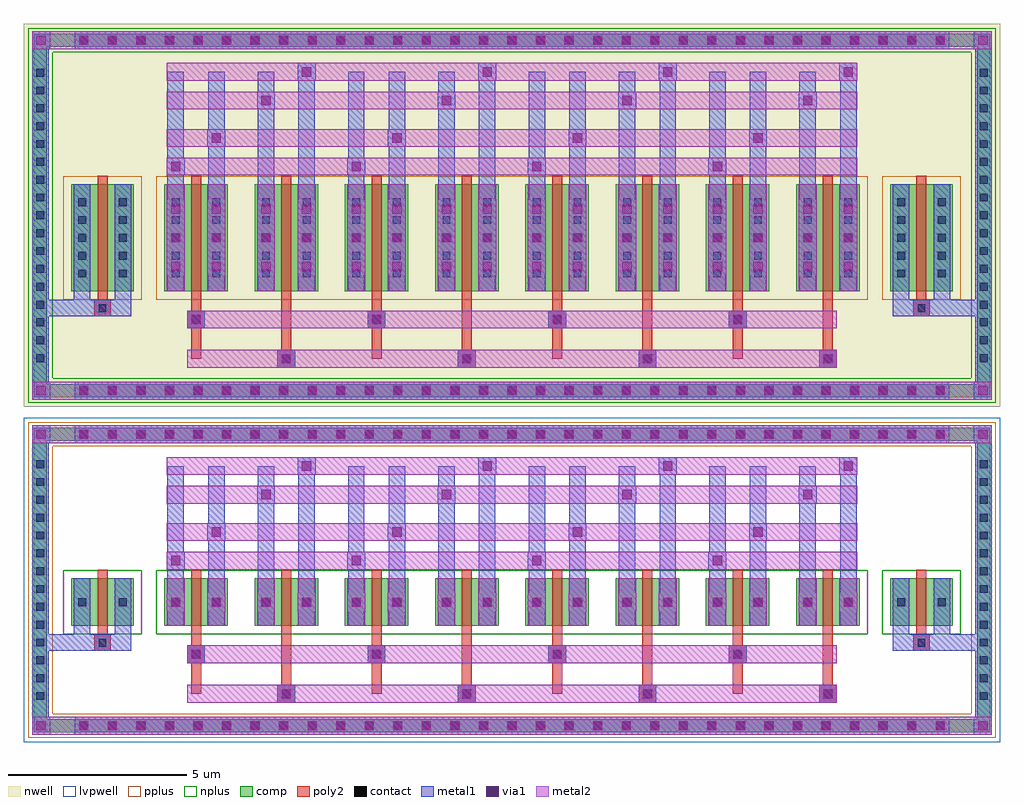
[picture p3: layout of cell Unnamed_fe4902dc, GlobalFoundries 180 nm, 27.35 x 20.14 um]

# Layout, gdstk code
import gdstk
lib = gdstk.Library(unit=1e-6, precision=5e-09)
def R(c, l, rs):  # rectangles x0, y0, x1, y1
    for r in rs: c.add(gdstk.rectangle(r[:2], r[2:], *l))
def A(c, l, x, y, w, h, nx, ny, dx, dy):  # array of equal rectangles
    R(c, l, [(x+i*dx, y+j*dy, x+i*dx+w, y+j*dy+h) for i in range(nx) for j in range(ny)])
def P(c, l, *ps):  # polygons
    for p in ps: c.add(gdstk.Polygon(p, *l))
nwell = (21, 0)
comp = (22, 0)
poly2 = (30, 0)
pplus = (31, 0)
nplus = (32, 0)
contact = (33, 0)
metal1 = (34, 0)
via1 = (35, 0)
metal2 = (36, 0)
lvpwell = (204, 0)

unnamed_380edbf8_1 = lib.new_cell('Unnamed_380edbf8$1')
A(unnamed_380edbf8_1, comp, -12.18, -5.09, 0.36, 0.36, 31, 2, 0.8, 9.82)
A(unnamed_380edbf8_1, comp, -13.395, -4.18, 0.36, 0.36, 1, 17, 0, 0.5)
A(unnamed_380edbf8_1, comp, 13.035, -4.18, 0.36, 0.36, 1, 17, 0, 0.5)
R(unnamed_380edbf8_1, comp, [(-12.18,-5.09,12.18,-4.73), (-13.395,-4.18,-13.035,4.18), (13.035,-4.18,13.395,4.18), (-12.18,4.73,12.18,5.09)])
P(unnamed_380edbf8_1, comp, [(-13.395,-5.09),(-13.395,-4.73),(-13.035,-4.73),(13.035,-4.73),(13.035,4.73),(-13.035,4.73),(-13.035,-4.73),(-13.395,-4.73),(-13.395,5.09),(13.395,5.09),(13.395,-5.09)])
P(unnamed_380edbf8_1, nplus, [(-13.555,-5.25),(-13.555,-4.57),(-12.875,-4.57),(12.875,-4.57),(12.875,4.57),(-12.875,4.57),(-12.875,-4.57),(-13.555,-4.57),(-13.555,5.25),(13.555,5.25),(13.555,-5.25)])
A(unnamed_380edbf8_1, contact, -12.11, -5.02, 0.22, 0.22, 31, 2, 0.8, 9.82)
A(unnamed_380edbf8_1, contact, -13.325, -4.11, 0.22, 0.22, 1, 17, 0, 0.5)
A(unnamed_380edbf8_1, contact, 13.105, -4.11, 0.22, 0.22, 1, 17, 0, 0.5)
A(unnamed_380edbf8_1, metal1, -12.25, -5.16, 0.5, 0.5, 31, 2, 0.8, 9.82)
A(unnamed_380edbf8_1, metal1, -13.445, -4.23, 0.46, 0.46, 1, 17, 0, 0.5)
A(unnamed_380edbf8_1, metal1, 12.985, -4.23, 0.46, 0.46, 1, 17, 0, 0.5)
R(unnamed_380edbf8_1, metal1, [(-13.445,-5.16,-12.945,-4.66), (-13.445,-5.16,-12.945,-4.66), (-13.445,-5.16,-12.985,-4.73), (-12.25,-5.16,12.25,-4.66), (12.945,-5.16,13.445,-4.66), (12.945,-5.16,13.445,-4.66), (12.985,-5.16,13.445,-4.73), (-13.445,-4.73,-12.985,4.73), (12.985,-4.73,13.445,4.73), (-13.445,4.66,-12.945,5.16), (-13.445,4.66,-12.945,5.16), (-12.25,4.66,12.25,5.16), (12.945,4.66,13.445,5.16), (12.945,4.66,13.445,5.16), (-13.445,4.73,-12.985,5.16), (12.985,4.73,13.445,5.16)])
A(unnamed_380edbf8_1, via1, -12.13, -5.04, 0.26, 0.26, 31, 2, 0.8, 9.82)
R(unnamed_380edbf8_1, via1, [(-13.325,-5.04,-13.065,-4.78), (13.065,-5.04,13.325,-4.78), (-13.325,4.78,-13.065,5.04), (13.065,4.78,13.325,5.04)])
A(unnamed_380edbf8_1, metal2, -12.25, -5.16, 0.5, 0.5, 31, 2, 0.8, 9.82)
R(unnamed_380edbf8_1, metal2, [(-13.445,-5.16,-13.035,-4.66), (-13.445,-5.16,-12.945,-4.66), (-13.445,-5.16,-12.945,-4.66), (-13.035,-5.16,13.035,-4.66), (12.945,-5.16,13.445,-4.66), (12.945,-5.16,13.445,-4.66), (13.035,-5.16,13.445,-4.66), (-13.445,4.66,-13.035,5.16), (-13.445,4.66,-12.945,5.16), (-13.445,4.66,-12.945,5.16), (-13.035,4.66,13.035,5.16), (12.945,4.66,13.445,5.16), (12.945,4.66,13.445,5.16), (13.035,4.66,13.445,5.16)])

straight_route_d008fce1 = lib.new_cell('straight_route_d008fce1')
R(straight_route_d008fce1, metal1, [(-13.445,-2.83,-11.705,-2.37)])

straight_route_ca73e596 = lib.new_cell('straight_route_ca73e596')
R(straight_route_ca73e596, metal1, [(11.705,-2.83,13.445,-2.37)])

transformed_6f1270a9 = lib.new_cell('transformed_6f1270a9')
R(transformed_6f1270a9, nwell, [(-13.675,-5.37,13.675,5.37)])
A(transformed_6f1270a9, comp, -9.745, -2.13, 1.78, 3, 8, 1, 2.53, 0)
R(transformed_6f1270a9, comp, [(-12.345,-2.13,-10.605,0.87), (10.605,-2.13,12.345,0.87)])
A(transformed_6f1270a9, poly2, -6.575, -4.27, 0.5, 0.5, 4, 1, 5.06, 0)
A(transformed_6f1270a9, poly2, -6.505, -4.2, 0.36, 0.36, 4, 1, 5.06, 0)
A(transformed_6f1270a9, poly2, -8.995, -4.02, 0.28, 1.65, 4, 1, 5.06, 0)
A(transformed_6f1270a9, poly2, -6.465, -3.77, 0.28, 1.4, 4, 1, 5.06, 0)
A(transformed_6f1270a9, poly2, -9.105, -3.17, 0.5, 0.5, 4, 1, 5.06, 0)
A(transformed_6f1270a9, poly2, -9.035, -3.1, 0.36, 0.36, 4, 1, 5.06, 0)
A(transformed_6f1270a9, poly2, -8.995, -2.67, 0.28, 0.3, 4, 1, 5.06, 0)
A(transformed_6f1270a9, poly2, -8.995, -2.37, 0.28, 3.48, 8, 1, 2.53, 0)
R(transformed_6f1270a9, poly2, [(-11.705,-2.83,-11.245,-2.37), (11.245,-2.83,11.705,-2.37), (-11.655,-2.78,-11.295,-2.42), (11.295,-2.78,11.655,-2.42), (-11.615,-2.37,-11.335,1.11), (11.335,-2.37,11.615,1.11)])
A(transformed_6f1270a9, pplus, -9.975, -2.36, 2.24, 3.46, 8, 1, 2.53, 0)
R(transformed_6f1270a9, pplus, [(-12.575,-2.36,-10.375,1.1), (-9.975,-2.36,9.975,1.1), (10.375,-2.36,12.575,1.1)])
A(transformed_6f1270a9, contact, -6.435, -4.13, 0.22, 0.22, 4, 1, 5.06, 0)
A(transformed_6f1270a9, contact, -8.965, -3.03, 0.22, 0.22, 4, 1, 5.06, 0)
A(transformed_6f1270a9, contact, -12.155, -1.74, 0.22, 0.22, 1, 5, 0, 0.5)
A(transformed_6f1270a9, contact, -11.015, -1.74, 0.22, 0.22, 1, 5, 0, 0.5)
A(transformed_6f1270a9, contact, -9.535, -1.74, 0.22, 0.22, 1, 5, 0, 0.5)
A(transformed_6f1270a9, contact, -8.395, -1.74, 0.22, 0.22, 1, 5, 0, 0.5)
A(transformed_6f1270a9, contact, -7.005, -1.74, 0.22, 0.22, 1, 5, 0, 0.5)
A(transformed_6f1270a9, contact, -5.865, -1.74, 0.22, 0.22, 1, 5, 0, 0.5)
A(transformed_6f1270a9, contact, -4.475, -1.74, 0.22, 0.22, 1, 5, 0, 0.5)
A(transformed_6f1270a9, contact, -3.335, -1.74, 0.22, 0.22, 1, 5, 0, 0.5)
A(transformed_6f1270a9, contact, -1.945, -1.74, 0.22, 0.22, 1, 5, 0, 0.5)
A(transformed_6f1270a9, contact, -0.805, -1.74, 0.22, 0.22, 1, 5, 0, 0.5)
A(transformed_6f1270a9, contact, 0.585, -1.74, 0.22, 0.22, 1, 5, 0, 0.5)
A(transformed_6f1270a9, contact, 1.725, -1.74, 0.22, 0.22, 1, 5, 0, 0.5)
A(transformed_6f1270a9, contact, 3.115, -1.74, 0.22, 0.22, 1, 5, 0, 0.5)
A(transformed_6f1270a9, contact, 4.255, -1.74, 0.22, 0.22, 1, 5, 0, 0.5)
A(transformed_6f1270a9, contact, 5.645, -1.74, 0.22, 0.22, 1, 5, 0, 0.5)
A(transformed_6f1270a9, contact, 6.785, -1.74, 0.22, 0.22, 1, 5, 0, 0.5)
A(transformed_6f1270a9, contact, 8.175, -1.74, 0.22, 0.22, 1, 5, 0, 0.5)
A(transformed_6f1270a9, contact, 9.315, -1.74, 0.22, 0.22, 1, 5, 0, 0.5)
A(transformed_6f1270a9, contact, 10.795, -1.74, 0.22, 0.22, 1, 5, 0, 0.5)
A(transformed_6f1270a9, contact, 11.935, -1.74, 0.22, 0.22, 1, 5, 0, 0.5)
R(transformed_6f1270a9, contact, [(-11.585,-2.71,-11.365,-2.49), (11.365,-2.71,11.585,-2.49)])
A(transformed_6f1270a9, metal1, -6.575, -4.27, 0.5, 0.5, 4, 1, 5.06, 0)
A(transformed_6f1270a9, metal1, -9.105, -3.17, 0.5, 0.5, 4, 1, 5.06, 0)
A(transformed_6f1270a9, metal1, -12.275, -1.86, 0.46, 0.46, 1, 5, 0, 0.5)
A(transformed_6f1270a9, metal1, -11.135, -1.86, 0.46, 0.46, 1, 5, 0, 0.5)
A(transformed_6f1270a9, metal1, -9.655, -1.86, 0.46, 0.46, 1, 5, 0, 0.5)
A(transformed_6f1270a9, metal1, -8.515, -1.86, 0.46, 0.46, 1, 5, 0, 0.5)
A(transformed_6f1270a9, metal1, -7.125, -1.86, 0.46, 0.46, 1, 5, 0, 0.5)
A(transformed_6f1270a9, metal1, -5.985, -1.86, 0.46, 0.46, 1, 5, 0, 0.5)
A(transformed_6f1270a9, metal1, -4.595, -1.86, 0.46, 0.46, 1, 5, 0, 0.5)
A(transformed_6f1270a9, metal1, -3.455, -1.86, 0.46, 0.46, 1, 5, 0, 0.5)
A(transformed_6f1270a9, metal1, -2.065, -1.86, 0.46, 0.46, 1, 5, 0, 0.5)
A(transformed_6f1270a9, metal1, -0.925, -1.86, 0.46, 0.46, 1, 5, 0, 0.5)
A(transformed_6f1270a9, metal1, 0.465, -1.86, 0.46, 0.46, 1, 5, 0, 0.5)
A(transformed_6f1270a9, metal1, 1.605, -1.86, 0.46, 0.46, 1, 5, 0, 0.5)
A(transformed_6f1270a9, metal1, 2.995, -1.86, 0.46, 0.46, 1, 5, 0, 0.5)
A(transformed_6f1270a9, metal1, 4.135, -1.86, 0.46, 0.46, 1, 5, 0, 0.5)
A(transformed_6f1270a9, metal1, 5.525, -1.86, 0.46, 0.46, 1, 5, 0, 0.5)
A(transformed_6f1270a9, metal1, 6.665, -1.86, 0.46, 0.46, 1, 5, 0, 0.5)
A(transformed_6f1270a9, metal1, 8.055, -1.86, 0.46, 0.46, 1, 5, 0, 0.5)
A(transformed_6f1270a9, metal1, 9.195, -1.86, 0.46, 0.46, 1, 5, 0, 0.5)
A(transformed_6f1270a9, metal1, 10.675, -1.86, 0.46, 0.46, 1, 5, 0, 0.5)
A(transformed_6f1270a9, metal1, 11.815, -1.86, 0.46, 0.46, 1, 5, 0, 0.5)
A(transformed_6f1270a9, metal1, -9.675, -1.68, 0.5, 0.5, 1, 3, 0, 0.8)
A(transformed_6f1270a9, metal1, -8.535, -1.68, 0.5, 0.5, 1, 3, 0, 0.8)
A(transformed_6f1270a9, metal1, -7.145, -1.68, 0.5, 0.5, 1, 3, 0, 0.8)
A(transformed_6f1270a9, metal1, -6.005, -1.68, 0.5, 0.5, 1, 3, 0, 0.8)
A(transformed_6f1270a9, metal1, -4.615, -1.68, 0.5, 0.5, 1, 3, 0, 0.8)
A(transformed_6f1270a9, metal1, -3.475, -1.68, 0.5, 0.5, 1, 3, 0, 0.8)
A(transformed_6f1270a9, metal1, -2.085, -1.68, 0.5, 0.5, 1, 3, 0, 0.8)
A(transformed_6f1270a9, metal1, -0.945, -1.68, 0.5, 0.5, 1, 3, 0, 0.8)
A(transformed_6f1270a9, metal1, 0.445, -1.68, 0.5, 0.5, 1, 3, 0, 0.8)
A(transformed_6f1270a9, metal1, 1.585, -1.68, 0.5, 0.5, 1, 3, 0, 0.8)
A(transformed_6f1270a9, metal1, 2.975, -1.68, 0.5, 0.5, 1, 3, 0, 0.8)
A(transformed_6f1270a9, metal1, 4.115, -1.68, 0.5, 0.5, 1, 3, 0, 0.8)
A(transformed_6f1270a9, metal1, 5.505, -1.68, 0.5, 0.5, 1, 3, 0, 0.8)
A(transformed_6f1270a9, metal1, 6.645, -1.68, 0.5, 0.5, 1, 3, 0, 0.8)
A(transformed_6f1270a9, metal1, 8.035, -1.68, 0.5, 0.5, 1, 3, 0, 0.8)
A(transformed_6f1270a9, metal1, 9.175, -1.68, 0.5, 0.5, 1, 3, 0, 0.8)
A(transformed_6f1270a9, metal1, -9.655, 0.87, 0.46, 0.75, 4, 1, 5.06, 0)
A(transformed_6f1270a9, metal1, -8.515, 0.87, 0.46, 1.55, 4, 1, 5.06, 0)
A(transformed_6f1270a9, metal1, -7.125, 0.87, 0.46, 2.6, 4, 1, 5.06, 0)
A(transformed_6f1270a9, metal1, -5.985, 0.87, 0.46, 3.4, 4, 1, 5.06, 0)
A(transformed_6f1270a9, metal1, -9.675, 1.12, 0.5, 0.5, 4, 1, 5.06, 0)
A(transformed_6f1270a9, metal1, -8.535, 1.92, 0.5, 0.5, 4, 1, 5.06, 0)
A(transformed_6f1270a9, metal1, -7.145, 2.97, 0.5, 0.5, 4, 1, 5.06, 0)
A(transformed_6f1270a9, metal1, -6.005, 3.77, 0.5, 0.5, 4, 1, 5.06, 0)
R(transformed_6f1270a9, metal1, [(-12.275,-2.83,-11.705,-2.37), (-12.275,-2.83,-11.815,-2.13), (-11.705,-2.83,-11.245,-2.37), (-11.245,-2.83,-10.675,-2.37), (-11.135,-2.83,-10.675,-2.13), (10.675,-2.83,11.245,-2.37), (10.675,-2.83,11.135,-2.13), (11.245,-2.83,11.705,-2.37), (11.705,-2.83,12.275,-2.37), (11.815,-2.83,12.275,-2.13), (-12.275,-2.13,-11.815,0.87), (-11.135,-2.13,-10.675,0.87), (-9.655,-2.13,-9.195,0.87), (-8.515,-2.13,-8.055,0.87), (-7.125,-2.13,-6.665,0.87), (-5.985,-2.13,-5.525,0.87), (-4.595,-2.13,-4.135,0.87), (-3.455,-2.13,-2.995,0.87), (-2.065,-2.13,-1.605,0.87), (-0.925,-2.13,-0.465,0.87), (0.465,-2.13,0.925,0.87), (1.605,-2.13,2.065,0.87), (2.995,-2.13,3.455,0.87), (4.135,-2.13,4.595,0.87), (5.525,-2.13,5.985,0.87), (6.665,-2.13,7.125,0.87), (8.055,-2.13,8.515,0.87), (9.195,-2.13,9.655,0.87), (10.675,-2.13,11.135,0.87), (11.815,-2.13,12.275,0.87), (-9.675,-1.68,-9.175,0.42), (-8.535,-1.68,-8.035,0.42), (-7.145,-1.68,-6.645,0.42), (-6.005,-1.68,-5.505,0.42), (-4.615,-1.68,-4.115,0.42), (-3.475,-1.68,-2.975,0.42), (-2.085,-1.68,-1.585,0.42), (-0.945,-1.68,-0.445,0.42), (0.445,-1.68,0.945,0.42), (1.585,-1.68,2.085,0.42), (2.975,-1.68,3.475,0.42), (4.115,-1.68,4.615,0.42), (5.505,-1.68,6.005,0.42), (6.645,-1.68,7.145,0.42), (8.035,-1.68,8.535,0.42), (9.175,-1.68,9.675,0.42), (-9.655,0.87,-9.195,4.02), (-8.515,0.87,-8.055,4.02), (-7.125,0.87,-6.665,4.02), (-5.985,0.87,-5.525,4.02), (-4.595,0.87,-4.135,4.02), (-3.455,0.87,-2.995,4.02), (-2.065,0.87,-1.605,4.02), (-0.925,0.87,-0.465,4.02), (0.465,0.87,0.925,4.02), (1.605,0.87,2.065,4.02), (2.995,0.87,3.455,4.02), (4.135,0.87,4.595,4.02), (5.525,0.87,5.985,4.02), (6.665,0.87,7.125,4.02), (8.055,0.87,8.515,4.02), (9.195,0.87,9.655,4.02)])
A(transformed_6f1270a9, via1, -6.455, -4.15, 0.26, 0.26, 4, 1, 5.06, 0)
A(transformed_6f1270a9, via1, -8.985, -3.05, 0.26, 0.26, 4, 1, 5.06, 0)
A(transformed_6f1270a9, via1, -9.555, -1.56, 0.26, 0.26, 1, 3, 0, 0.8)
A(transformed_6f1270a9, via1, -8.415, -1.56, 0.26, 0.26, 1, 3, 0, 0.8)
A(transformed_6f1270a9, via1, -7.025, -1.56, 0.26, 0.26, 1, 3, 0, 0.8)
A(transformed_6f1270a9, via1, -5.885, -1.56, 0.26, 0.26, 1, 3, 0, 0.8)
A(transformed_6f1270a9, via1, -4.495, -1.56, 0.26, 0.26, 1, 3, 0, 0.8)
A(transformed_6f1270a9, via1, -3.355, -1.56, 0.26, 0.26, 1, 3, 0, 0.8)
A(transformed_6f1270a9, via1, -1.965, -1.56, 0.26, 0.26, 1, 3, 0, 0.8)
A(transformed_6f1270a9, via1, -0.825, -1.56, 0.26, 0.26, 1, 3, 0, 0.8)
A(transformed_6f1270a9, via1, 0.565, -1.56, 0.26, 0.26, 1, 3, 0, 0.8)
A(transformed_6f1270a9, via1, 1.705, -1.56, 0.26, 0.26, 1, 3, 0, 0.8)
A(transformed_6f1270a9, via1, 3.095, -1.56, 0.26, 0.26, 1, 3, 0, 0.8)
A(transformed_6f1270a9, via1, 4.235, -1.56, 0.26, 0.26, 1, 3, 0, 0.8)
A(transformed_6f1270a9, via1, 5.625, -1.56, 0.26, 0.26, 1, 3, 0, 0.8)
A(transformed_6f1270a9, via1, 6.765, -1.56, 0.26, 0.26, 1, 3, 0, 0.8)
A(transformed_6f1270a9, via1, 8.155, -1.56, 0.26, 0.26, 1, 3, 0, 0.8)
A(transformed_6f1270a9, via1, 9.295, -1.56, 0.26, 0.26, 1, 3, 0, 0.8)
A(transformed_6f1270a9, via1, -9.555, 1.24, 0.26, 0.26, 4, 1, 5.06, 0)
A(transformed_6f1270a9, via1, -8.415, 2.04, 0.26, 0.26, 4, 1, 5.06, 0)
A(transformed_6f1270a9, via1, -7.025, 3.09, 0.26, 0.26, 4, 1, 5.06, 0)
A(transformed_6f1270a9, via1, -5.885, 3.89, 0.26, 0.26, 4, 1, 5.06, 0)
A(transformed_6f1270a9, metal2, -9.675, -1.68, 0.5, 0.5, 1, 3, 0, 0.8)
A(transformed_6f1270a9, metal2, -8.535, -1.68, 0.5, 0.5, 1, 3, 0, 0.8)
A(transformed_6f1270a9, metal2, -7.145, -1.68, 0.5, 0.5, 1, 3, 0, 0.8)
A(transformed_6f1270a9, metal2, -6.005, -1.68, 0.5, 0.5, 1, 3, 0, 0.8)
A(transformed_6f1270a9, metal2, -4.615, -1.68, 0.5, 0.5, 1, 3, 0, 0.8)
A(transformed_6f1270a9, metal2, -3.475, -1.68, 0.5, 0.5, 1, 3, 0, 0.8)
A(transformed_6f1270a9, metal2, -2.085, -1.68, 0.5, 0.5, 1, 3, 0, 0.8)
A(transformed_6f1270a9, metal2, -0.945, -1.68, 0.5, 0.5, 1, 3, 0, 0.8)
A(transformed_6f1270a9, metal2, 0.445, -1.68, 0.5, 0.5, 1, 3, 0, 0.8)
A(transformed_6f1270a9, metal2, 1.585, -1.68, 0.5, 0.5, 1, 3, 0, 0.8)
A(transformed_6f1270a9, metal2, 2.975, -1.68, 0.5, 0.5, 1, 3, 0, 0.8)
A(transformed_6f1270a9, metal2, 4.115, -1.68, 0.5, 0.5, 1, 3, 0, 0.8)
A(transformed_6f1270a9, metal2, 5.505, -1.68, 0.5, 0.5, 1, 3, 0, 0.8)
A(transformed_6f1270a9, metal2, 6.645, -1.68, 0.5, 0.5, 1, 3, 0, 0.8)
A(transformed_6f1270a9, metal2, 8.035, -1.68, 0.5, 0.5, 1, 3, 0, 0.8)
A(transformed_6f1270a9, metal2, 9.175, -1.68, 0.5, 0.5, 1, 3, 0, 0.8)
A(transformed_6f1270a9, metal2, -9.675, 1.12, 0.5, 0.5, 4, 1, 5.06, 0)
A(transformed_6f1270a9, metal2, -9.675, 1.12, 1.64, 0.5, 4, 2, 5.06, 0.8)
A(transformed_6f1270a9, metal2, -8.535, 1.92, 0.5, 0.5, 4, 1, 5.06, 0)
A(transformed_6f1270a9, metal2, -7.145, 2.97, 0.5, 0.5, 4, 1, 5.06, 0)
A(transformed_6f1270a9, metal2, -7.145, 2.97, 1.64, 0.5, 4, 2, 5.06, 0.8)
A(transformed_6f1270a9, metal2, -6.005, 3.77, 0.5, 0.5, 4, 1, 5.06, 0)
R(transformed_6f1270a9, metal2, [(-9.105,-4.27,9.105,-3.77), (-6.575,-4.27,-6.075,-3.77), (-6.575,-4.27,-6.075,-3.77), (-1.515,-4.27,-1.015,-3.77), (-1.515,-4.27,-1.015,-3.77), (3.545,-4.27,4.045,-3.77), (3.545,-4.27,4.045,-3.77), (8.605,-4.27,9.105,-3.77), (8.605,-4.27,9.105,-3.77), (-9.105,-3.17,-8.605,-2.67), (-9.105,-3.17,-8.605,-2.67), (-9.105,-3.17,9.105,-2.67), (-4.045,-3.17,-3.545,-2.67), (-4.045,-3.17,-3.545,-2.67), (1.015,-3.17,1.515,-2.67), (1.015,-3.17,1.515,-2.67), (6.075,-3.17,6.575,-2.67), (6.075,-3.17,6.575,-2.67), (-9.675,-2.13,-9.175,0.87), (-8.535,-2.13,-8.035,0.87), (-7.145,-2.13,-6.645,0.87), (-6.005,-2.13,-5.505,0.87), (-4.615,-2.13,-4.115,0.87), (-3.475,-2.13,-2.975,0.87), (-2.085,-2.13,-1.585,0.87), (-0.945,-2.13,-0.445,0.87), (0.445,-2.13,0.945,0.87), (1.585,-2.13,2.085,0.87), (2.975,-2.13,3.475,0.87), (4.115,-2.13,4.615,0.87), (5.505,-2.13,6.005,0.87), (6.645,-2.13,7.145,0.87), (8.035,-2.13,8.535,0.87), (9.175,-2.13,9.675,0.87), (-9.675,1.12,9.675,1.62), (-9.675,1.92,9.675,2.42), (-9.675,2.97,9.675,3.47), (-9.675,3.77,9.675,4.27)])
transformed_6f1270a9.add(gdstk.Reference(unnamed_380edbf8_1, (0,0)))
transformed_6f1270a9.add(gdstk.Reference(straight_route_d008fce1, (0,0)))
transformed_6f1270a9.add(gdstk.Reference(straight_route_ca73e596, (0,0)))

unnamed_fec9934c_1 = lib.new_cell('Unnamed_fec9934c$1')
A(unnamed_fec9934c_1, comp, -12.18, -4.265, 0.36, 0.36, 31, 2, 0.8, 8.17)
A(unnamed_fec9934c_1, comp, -13.395, -3.43, 0.36, 0.36, 1, 14, 0, 0.5)
A(unnamed_fec9934c_1, comp, 13.035, -3.43, 0.36, 0.36, 1, 14, 0, 0.5)
R(unnamed_fec9934c_1, comp, [(-12.18,-4.265,12.18,-3.905), (-13.395,-3.43,-13.035,3.43), (13.035,-3.43,13.395,3.43), (-12.18,3.905,12.18,4.265)])
P(unnamed_fec9934c_1, comp, [(-13.395,-4.265),(-13.395,-3.905),(-13.035,-3.905),(13.035,-3.905),(13.035,3.905),(-13.035,3.905),(-13.035,-3.905),(-13.395,-3.905),(-13.395,4.265),(13.395,4.265),(13.395,-4.265)])
P(unnamed_fec9934c_1, pplus, [(-13.555,-4.425),(-13.555,-3.745),(-12.875,-3.745),(12.875,-3.745),(12.875,3.745),(-12.875,3.745),(-12.875,-3.745),(-13.555,-3.745),(-13.555,4.425),(13.555,4.425),(13.555,-4.425)])
A(unnamed_fec9934c_1, contact, -12.11, -4.195, 0.22, 0.22, 31, 2, 0.8, 8.17)
A(unnamed_fec9934c_1, contact, -13.325, -3.36, 0.22, 0.22, 1, 14, 0, 0.5)
A(unnamed_fec9934c_1, contact, 13.105, -3.36, 0.22, 0.22, 1, 14, 0, 0.5)
A(unnamed_fec9934c_1, metal1, -12.25, -4.335, 0.5, 0.5, 31, 2, 0.8, 8.17)
A(unnamed_fec9934c_1, metal1, -13.445, -3.48, 0.46, 0.46, 1, 14, 0, 0.5)
A(unnamed_fec9934c_1, metal1, 12.985, -3.48, 0.46, 0.46, 1, 14, 0, 0.5)
R(unnamed_fec9934c_1, metal1, [(-13.445,-4.335,-12.945,-3.835), (-13.445,-4.335,-12.945,-3.835), (-13.445,-4.335,-12.985,-3.905), (-12.25,-4.335,12.25,-3.835), (12.945,-4.335,13.445,-3.835), (12.945,-4.335,13.445,-3.835), (12.985,-4.335,13.445,-3.905), (-13.445,-3.905,-12.985,3.905), (12.985,-3.905,13.445,3.905), (-13.445,3.835,-12.945,4.335), (-13.445,3.835,-12.945,4.335), (-12.25,3.835,12.25,4.335), (12.945,3.835,13.445,4.335), (12.945,3.835,13.445,4.335), (-13.445,3.905,-12.985,4.335), (12.985,3.905,13.445,4.335)])
A(unnamed_fec9934c_1, via1, -12.13, -4.215, 0.26, 0.26, 31, 2, 0.8, 8.17)
R(unnamed_fec9934c_1, via1, [(-13.325,-4.215,-13.065,-3.955), (13.065,-4.215,13.325,-3.955), (-13.325,3.955,-13.065,4.215), (13.065,3.955,13.325,4.215)])
A(unnamed_fec9934c_1, metal2, -12.25, -4.335, 0.5, 0.5, 31, 2, 0.8, 8.17)
R(unnamed_fec9934c_1, metal2, [(-13.445,-4.335,-13.035,-3.835), (-13.445,-4.335,-12.945,-3.835), (-13.445,-4.335,-12.945,-3.835), (-13.035,-4.335,13.035,-3.835), (12.945,-4.335,13.445,-3.835), (12.945,-4.335,13.445,-3.835), (13.035,-4.335,13.445,-3.835), (-13.445,3.835,-13.035,4.335), (-13.445,3.835,-12.945,4.335), (-13.445,3.835,-12.945,4.335), (-13.035,3.835,13.035,4.335), (12.945,3.835,13.445,4.335), (12.945,3.835,13.445,4.335), (13.035,3.835,13.445,4.335)])

straight_route_58694c5b = lib.new_cell('straight_route_58694c5b')
R(straight_route_58694c5b, metal1, [(-13.445,-1.985,-11.705,-1.525)])

straight_route_b35e4530 = lib.new_cell('straight_route_b35e4530')
R(straight_route_b35e4530, metal1, [(11.705,-1.985,13.445,-1.525)])

transformed_7045f93c = lib.new_cell('transformed_7045f93c')
A(transformed_7045f93c, comp, -9.745, -1.285, 1.78, 1.33, 8, 1, 2.53, 0)
R(transformed_7045f93c, comp, [(-12.345,-1.285,-10.605,0.045), (10.605,-1.285,12.345,0.045)])
A(transformed_7045f93c, poly2, -6.575, -3.44, 0.5, 0.5, 4, 1, 5.06, 0)
A(transformed_7045f93c, poly2, -6.505, -3.37, 0.36, 0.36, 4, 1, 5.06, 0)
A(transformed_7045f93c, poly2, -8.995, -3.19, 0.28, 1.665, 4, 1, 5.06, 0)
A(transformed_7045f93c, poly2, -6.465, -2.94, 0.28, 1.415, 4, 1, 5.06, 0)
A(transformed_7045f93c, poly2, -9.105, -2.33, 0.5, 0.5, 4, 1, 5.06, 0)
A(transformed_7045f93c, poly2, -9.035, -2.26, 0.36, 0.36, 4, 1, 5.06, 0)
A(transformed_7045f93c, poly2, -8.995, -1.83, 0.28, 0.305, 4, 1, 5.06, 0)
A(transformed_7045f93c, poly2, -8.995, -1.525, 0.28, 1.81, 8, 1, 2.53, 0)
R(transformed_7045f93c, poly2, [(-11.705,-1.985,-11.245,-1.525), (11.245,-1.985,11.705,-1.525), (-11.655,-1.935,-11.295,-1.575), (11.295,-1.935,11.655,-1.575), (-11.615,-1.525,-11.335,0.285), (11.335,-1.525,11.615,0.285)])
A(transformed_7045f93c, nplus, -9.975, -1.515, 2.24, 1.79, 8, 1, 2.53, 0)
R(transformed_7045f93c, nplus, [(-12.575,-1.515,-10.375,0.275), (-9.975,-1.515,9.975,0.275), (10.375,-1.515,12.575,0.275)])
A(transformed_7045f93c, contact, -6.435, -3.3, 0.22, 0.22, 4, 1, 5.06, 0)
A(transformed_7045f93c, contact, -8.965, -2.19, 0.22, 0.22, 4, 1, 5.06, 0)
R(transformed_7045f93c, contact, [(-11.585,-1.865,-11.365,-1.645), (11.365,-1.865,11.585,-1.645), (-12.155,-0.73,-11.935,-0.51), (-11.015,-0.73,-10.795,-0.51), (-9.535,-0.73,-9.315,-0.51), (-8.395,-0.73,-8.175,-0.51), (-7.005,-0.73,-6.785,-0.51), (-5.865,-0.73,-5.645,-0.51), (-4.475,-0.73,-4.255,-0.51), (-3.335,-0.73,-3.115,-0.51), (-1.945,-0.73,-1.725,-0.51), (-0.805,-0.73,-0.585,-0.51), (0.585,-0.73,0.805,-0.51), (1.725,-0.73,1.945,-0.51), (3.115,-0.73,3.335,-0.51), (4.255,-0.73,4.475,-0.51), (5.645,-0.73,5.865,-0.51), (6.785,-0.73,7.005,-0.51), (8.175,-0.73,8.395,-0.51), (9.315,-0.73,9.535,-0.51), (10.795,-0.73,11.015,-0.51), (11.935,-0.73,12.155,-0.51)])
A(transformed_7045f93c, metal1, -6.575, -3.44, 0.5, 0.5, 4, 1, 5.06, 0)
A(transformed_7045f93c, metal1, -9.105, -2.33, 0.5, 0.5, 4, 1, 5.06, 0)
A(transformed_7045f93c, metal1, -9.655, 0.045, 0.46, 0.75, 4, 1, 5.06, 0)
A(transformed_7045f93c, metal1, -8.515, 0.045, 0.46, 1.55, 4, 1, 5.06, 0)
A(transformed_7045f93c, metal1, -7.125, 0.045, 0.46, 2.6, 4, 1, 5.06, 0)
A(transformed_7045f93c, metal1, -5.985, 0.045, 0.46, 3.4, 4, 1, 5.06, 0)
A(transformed_7045f93c, metal1, -9.675, 0.295, 0.5, 0.5, 4, 1, 5.06, 0)
A(transformed_7045f93c, metal1, -8.535, 1.095, 0.5, 0.5, 4, 1, 5.06, 0)
A(transformed_7045f93c, metal1, -7.145, 2.145, 0.5, 0.5, 4, 1, 5.06, 0)
A(transformed_7045f93c, metal1, -6.005, 2.945, 0.5, 0.5, 4, 1, 5.06, 0)
R(transformed_7045f93c, metal1, [(-12.275,-1.985,-11.705,-1.525), (-12.275,-1.985,-11.815,-1.285), (-11.705,-1.985,-11.245,-1.525), (-11.245,-1.985,-10.675,-1.525), (-11.135,-1.985,-10.675,-1.285), (10.675,-1.985,11.245,-1.525), (10.675,-1.985,11.135,-1.285), (11.245,-1.985,11.705,-1.525), (11.705,-1.985,12.275,-1.525), (11.815,-1.985,12.275,-1.285), (-12.275,-1.285,-11.815,0.045), (-11.135,-1.285,-10.675,0.045), (-9.655,-1.285,-9.195,0.045), (-8.515,-1.285,-8.055,0.045), (-7.125,-1.285,-6.665,0.045), (-5.985,-1.285,-5.525,0.045), (-4.595,-1.285,-4.135,0.045), (-3.455,-1.285,-2.995,0.045), (-2.065,-1.285,-1.605,0.045), (-0.925,-1.285,-0.465,0.045), (0.465,-1.285,0.925,0.045), (1.605,-1.285,2.065,0.045), (2.995,-1.285,3.455,0.045), (4.135,-1.285,4.595,0.045), (5.525,-1.285,5.985,0.045), (6.665,-1.285,7.125,0.045), (8.055,-1.285,8.515,0.045), (9.195,-1.285,9.655,0.045), (10.675,-1.285,11.135,0.045), (11.815,-1.285,12.275,0.045), (-9.675,-0.87,-9.175,-0.37), (-9.675,-0.87,-9.175,-0.37), (-8.535,-0.87,-8.035,-0.37), (-8.535,-0.87,-8.035,-0.37), (-7.145,-0.87,-6.645,-0.37), (-7.145,-0.87,-6.645,-0.37), (-6.005,-0.87,-5.505,-0.37), (-6.005,-0.87,-5.505,-0.37), (-4.615,-0.87,-4.115,-0.37), (-4.615,-0.87,-4.115,-0.37), (-3.475,-0.87,-2.975,-0.37), (-3.475,-0.87,-2.975,-0.37), (-2.085,-0.87,-1.585,-0.37), (-2.085,-0.87,-1.585,-0.37), (-0.945,-0.87,-0.445,-0.37), (-0.945,-0.87,-0.445,-0.37), (0.445,-0.87,0.945,-0.37), (0.445,-0.87,0.945,-0.37), (1.585,-0.87,2.085,-0.37), (1.585,-0.87,2.085,-0.37), (2.975,-0.87,3.475,-0.37), (2.975,-0.87,3.475,-0.37), (4.115,-0.87,4.615,-0.37), (4.115,-0.87,4.615,-0.37), (5.505,-0.87,6.005,-0.37), (5.505,-0.87,6.005,-0.37), (6.645,-0.87,7.145,-0.37), (6.645,-0.87,7.145,-0.37), (8.035,-0.87,8.535,-0.37), (8.035,-0.87,8.535,-0.37), (9.175,-0.87,9.675,-0.37), (9.175,-0.87,9.675,-0.37), (-12.275,-0.85,-11.815,-0.39), (-11.135,-0.85,-10.675,-0.39), (-9.655,-0.85,-9.195,-0.39), (-8.515,-0.85,-8.055,-0.39), (-7.125,-0.85,-6.665,-0.39), (-5.985,-0.85,-5.525,-0.39), (-4.595,-0.85,-4.135,-0.39), (-3.455,-0.85,-2.995,-0.39), (-2.065,-0.85,-1.605,-0.39), (-0.925,-0.85,-0.465,-0.39), (0.465,-0.85,0.925,-0.39), (1.605,-0.85,2.065,-0.39), (2.995,-0.85,3.455,-0.39), (4.135,-0.85,4.595,-0.39), (5.525,-0.85,5.985,-0.39), (6.665,-0.85,7.125,-0.39), (8.055,-0.85,8.515,-0.39), (9.195,-0.85,9.655,-0.39), (10.675,-0.85,11.135,-0.39), (11.815,-0.85,12.275,-0.39), (-9.655,0.045,-9.195,3.195), (-8.515,0.045,-8.055,3.195), (-7.125,0.045,-6.665,3.195), (-5.985,0.045,-5.525,3.195), (-4.595,0.045,-4.135,3.195), (-3.455,0.045,-2.995,3.195), (-2.065,0.045,-1.605,3.195), (-0.925,0.045,-0.465,3.195), (0.465,0.045,0.925,3.195), (1.605,0.045,2.065,3.195), (2.995,0.045,3.455,3.195), (4.135,0.045,4.595,3.195), (5.525,0.045,5.985,3.195), (6.665,0.045,7.125,3.195), (8.055,0.045,8.515,3.195), (9.195,0.045,9.655,3.195)])
A(transformed_7045f93c, via1, -6.455, -3.32, 0.26, 0.26, 4, 1, 5.06, 0)
A(transformed_7045f93c, via1, -8.985, -2.21, 0.26, 0.26, 4, 1, 5.06, 0)
A(transformed_7045f93c, via1, -9.555, 0.415, 0.26, 0.26, 4, 1, 5.06, 0)
A(transformed_7045f93c, via1, -8.415, 1.215, 0.26, 0.26, 4, 1, 5.06, 0)
A(transformed_7045f93c, via1, -7.025, 2.265, 0.26, 0.26, 4, 1, 5.06, 0)
A(transformed_7045f93c, via1, -5.885, 3.065, 0.26, 0.26, 4, 1, 5.06, 0)
R(transformed_7045f93c, via1, [(-9.555,-0.75,-9.295,-0.49), (-8.415,-0.75,-8.155,-0.49), (-7.025,-0.75,-6.765,-0.49), (-5.885,-0.75,-5.625,-0.49), (-4.495,-0.75,-4.235,-0.49), (-3.355,-0.75,-3.095,-0.49), (-1.965,-0.75,-1.705,-0.49), (-0.825,-0.75,-0.565,-0.49), (0.565,-0.75,0.825,-0.49), (1.705,-0.75,1.965,-0.49), (3.095,-0.75,3.355,-0.49), (4.235,-0.75,4.495,-0.49), (5.625,-0.75,5.885,-0.49), (6.765,-0.75,7.025,-0.49), (8.155,-0.75,8.415,-0.49), (9.295,-0.75,9.555,-0.49)])
A(transformed_7045f93c, metal2, -9.675, 0.295, 0.5, 0.5, 4, 1, 5.06, 0)
A(transformed_7045f93c, metal2, -9.675, 0.295, 1.64, 0.5, 4, 2, 5.06, 0.8)
A(transformed_7045f93c, metal2, -8.535, 1.095, 0.5, 0.5, 4, 1, 5.06, 0)
A(transformed_7045f93c, metal2, -7.145, 2.145, 0.5, 0.5, 4, 1, 5.06, 0)
A(transformed_7045f93c, metal2, -7.145, 2.145, 1.64, 0.5, 4, 2, 5.06, 0.8)
A(transformed_7045f93c, metal2, -6.005, 2.945, 0.5, 0.5, 4, 1, 5.06, 0)
R(transformed_7045f93c, metal2, [(-9.105,-3.44,9.105,-2.94), (-6.575,-3.44,-6.075,-2.94), (-6.575,-3.44,-6.075,-2.94), (-1.515,-3.44,-1.015,-2.94), (-1.515,-3.44,-1.015,-2.94), (3.545,-3.44,4.045,-2.94), (3.545,-3.44,4.045,-2.94), (8.605,-3.44,9.105,-2.94), (8.605,-3.44,9.105,-2.94), (-9.105,-2.33,-8.605,-1.83), (-9.105,-2.33,-8.605,-1.83), (-9.105,-2.33,9.105,-1.83), (-4.045,-2.33,-3.545,-1.83), (-4.045,-2.33,-3.545,-1.83), (1.015,-2.33,1.515,-1.83), (1.015,-2.33,1.515,-1.83), (6.075,-2.33,6.575,-1.83), (6.075,-2.33,6.575,-1.83), (-9.675,-1.285,-9.175,0.045), (-8.535,-1.285,-8.035,0.045), (-7.145,-1.285,-6.645,0.045), (-6.005,-1.285,-5.505,0.045), (-4.615,-1.285,-4.115,0.045), (-3.475,-1.285,-2.975,0.045), (-2.085,-1.285,-1.585,0.045), (-0.945,-1.285,-0.445,0.045), (0.445,-1.285,0.945,0.045), (1.585,-1.285,2.085,0.045), (2.975,-1.285,3.475,0.045), (4.115,-1.285,4.615,0.045), (5.505,-1.285,6.005,0.045), (6.645,-1.285,7.145,0.045), (8.035,-1.285,8.535,0.045), (9.175,-1.285,9.675,0.045), (-9.675,-0.87,-9.175,-0.37), (-8.535,-0.87,-8.035,-0.37), (-7.145,-0.87,-6.645,-0.37), (-6.005,-0.87,-5.505,-0.37), (-4.615,-0.87,-4.115,-0.37), (-3.475,-0.87,-2.975,-0.37), (-2.085,-0.87,-1.585,-0.37), (-0.945,-0.87,-0.445,-0.37), (0.445,-0.87,0.945,-0.37), (1.585,-0.87,2.085,-0.37), (2.975,-0.87,3.475,-0.37), (4.115,-0.87,4.615,-0.37), (5.505,-0.87,6.005,-0.37), (6.645,-0.87,7.145,-0.37), (8.035,-0.87,8.535,-0.37), (9.175,-0.87,9.675,-0.37), (-9.675,0.295,9.675,0.795), (-9.675,1.095,9.675,1.595), (-9.675,2.145,9.675,2.645), (-9.675,2.945,9.675,3.445)])
R(transformed_7045f93c, lvpwell, [(-13.675,-4.545,13.675,4.545)])
transformed_7045f93c.add(gdstk.Reference(unnamed_fec9934c_1, (0,0)))
transformed_7045f93c.add(gdstk.Reference(straight_route_58694c5b, (0,0)))
transformed_7045f93c.add(gdstk.Reference(straight_route_b35e4530, (0,0)))

unnamed_fe4902dc = lib.new_cell('Unnamed_fe4902dc')
unnamed_fe4902dc.add(gdstk.Reference(transformed_6f1270a9, (0,10.22)))
unnamed_fe4902dc.add(gdstk.Reference(transformed_7045f93c, (0,0)))

lib.write_gds('Unnamed_fe4902dc.gds')
